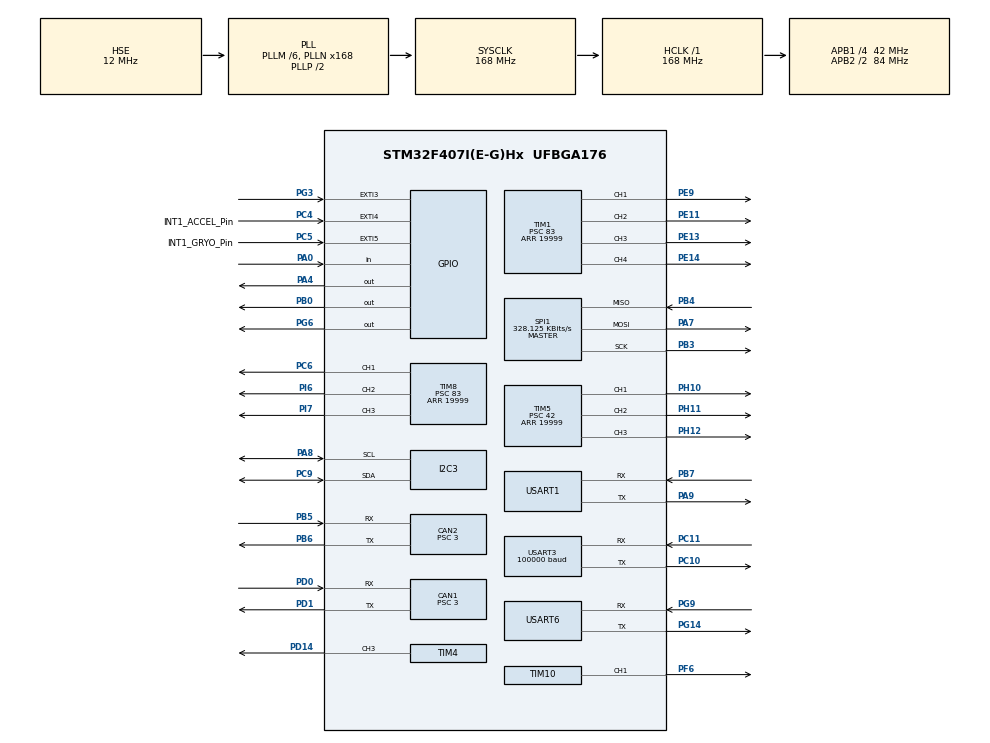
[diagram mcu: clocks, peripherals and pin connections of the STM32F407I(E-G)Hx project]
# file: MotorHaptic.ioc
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CAN1.BS1=CAN_BS1_10TQ
CAN1.BS2=CAN_BS2_3TQ
CAN1.CalculateBaudRate=1000000
CAN1.CalculateTimeBit=1000
CAN1.CalculateTimeQuantum=71.42857142857143
CAN1.Prescaler=3
CAN2.BS1=CAN_BS1_10TQ
CAN2.BS2=CAN_BS2_3TQ
CAN2.CalculateBaudRate=1000000
CAN2.CalculateTimeBit=1000
CAN2.CalculateTimeQuantum=71.42857142857143
CAN2.Prescaler=3
Dma.Request0=USART3_RX
Dma.Request1=USART1_TX
Dma.Request2=USART1_RX
Dma.Request3=USART6_RX
Dma.Request4=USART6_TX
Dma.USART1_RX.2.Direction=DMA_PERIPH_TO_MEMORY
Dma.USART1_RX.2.FIFOMode=DMA_FIFOMODE_DISABLE
Dma.USART1_RX.2.Instance=DMA2_Stream2
Dma.USART1_RX.2.MemDataAlignment=DMA_MDATAALIGN_BYTE
Dma.USART1_RX.2.MemInc=DMA_MINC_ENABLE
Dma.USART1_RX.2.Mode=DMA_NORMAL
Dma.USART1_RX.2.PeriphDataAlignment=DMA_PDATAALIGN_BYTE
Dma.USART1_RX.2.PeriphInc=DMA_PINC_DISABLE
Dma.USART1_RX.2.Priority=DMA_PRIORITY_VERY_HIGH
Dma.USART1_TX.1.Direction=DMA_MEMORY_TO_PERIPH
Dma.USART1_TX.1.FIFOMode=DMA_FIFOMODE_DISABLE
Dma.USART1_TX.1.Instance=DMA2_Stream7
Dma.USART1_TX.1.MemDataAlignment=DMA_MDATAALIGN_BYTE
Dma.USART1_TX.1.MemInc=DMA_MINC_ENABLE
Dma.USART1_TX.1.Mode=DMA_NORMAL
Dma.USART1_TX.1.PeriphDataAlignment=DMA_PDATAALIGN_BYTE
Dma.USART1_TX.1.PeriphInc=DMA_PINC_DISABLE
Dma.USART1_TX.1.Priority=DMA_PRIORITY_VERY_HIGH
Dma.USART3_RX.0.Direction=DMA_PERIPH_TO_MEMORY
Dma.USART3_RX.0.FIFOMode=DMA_FIFOMODE_DISABLE
Dma.USART3_RX.0.Instance=DMA1_Stream1
Dma.USART3_RX.0.MemDataAlignment=DMA_MDATAALIGN_BYTE
Dma.USART3_RX.0.MemInc=DMA_MINC_ENABLE
Dma.USART3_RX.0.Mode=DMA_CIRCULAR
Dma.USART3_RX.0.PeriphDataAlignment=DMA_PDATAALIGN_BYTE
Dma.USART3_RX.0.PeriphInc=DMA_PINC_DISABLE
Dma.USART3_RX.0.Priority=DMA_PRIORITY_VERY_HIGH
Dma.USART6_RX.3.Direction=DMA_PERIPH_TO_MEMORY
Dma.USART6_RX.3.FIFOMode=DMA_FIFOMODE_DISABLE
Dma.USART6_RX.3.Instance=DMA2_Stream1
Dma.USART6_RX.3.MemDataAlignment=DMA_MDATAALIGN_BYTE
Dma.USART6_RX.3.MemInc=DMA_MINC_ENABLE
Dma.USART6_RX.3.Mode=DMA_NORMAL
Dma.USART6_RX.3.PeriphDataAlignment=DMA_PDATAALIGN_BYTE
Dma.USART6_RX.3.PeriphInc=DMA_PINC_DISABLE
Dma.USART6_RX.3.Priority=DMA_PRIORITY_VERY_HIGH
Dma.USART6_TX.4.Direction=DMA_MEMORY_TO_PERIPH
Dma.USART6_TX.4.FIFOMode=DMA_FIFOMODE_DISABLE
Dma.USART6_TX.4.Instance=DMA2_Stream6
Dma.USART6_TX.4.MemDataAlignment=DMA_MDATAALIGN_BYTE
Dma.USART6_TX.4.MemInc=DMA_MINC_ENABLE
Dma.USART6_TX.4.Mode=DMA_NORMAL
Dma.USART6_TX.4.PeriphDataAlignment=DMA_PDATAALIGN_BYTE
Dma.USART6_TX.4.PeriphInc=DMA_PINC_DISABLE
Dma.USART6_TX.4.Priority=DMA_PRIORITY_VERY_HIGH
FREERTOS.INCLUDE_pcTaskGetTaskName=1
FREERTOS.INCLUDE_xTaskGetHandle=1
FREERTOS.Tasks01=defaultTask,32,1024,TaskMain,Default,NULL,Dynamic,NULL,NULL;chassisTask,40,1024,TaskChassis,Default,NULL,Dynamic,NULL,NULL;IMUtempPIDtask,24,512,imu_temp_control_task,As weak,NULL,Dynamic,NULL,NULL;turretTask,24,1024,TaskTurret,Default,NULL,Dynamic,NULL,NULL
FREERTOS.configUSE_NEWLIB_REENTRANT=1
I2C3.I2C_Mode=I2C_Fast
Mcu.Family=STM32F4
Mcu.Name=STM32F407I(E-G)Hx
Mcu.Package=UFBGA176
NVIC.CAN1_RX0_IRQn=true\:5\:0\:false\:false\:true\:true\:true\:true\:true
NVIC.CAN2_RX0_IRQn=true\:5\:0\:false\:false\:true\:true\:true\:true\:true
NVIC.DMA1_Stream1_IRQn=true\:5\:0\:false\:false\:true\:true\:false\:true\:true
NVIC.DMA2_Stream1_IRQn=true\:5\:0\:false\:false\:true\:true\:false\:true\:true
NVIC.DMA2_Stream2_IRQn=true\:5\:0\:false\:false\:true\:true\:false\:true\:true
NVIC.DMA2_Stream6_IRQn=true\:5\:0\:false\:false\:true\:true\:false\:true\:true
NVIC.DMA2_Stream7_IRQn=true\:5\:0\:false\:false\:true\:true\:false\:true\:true
NVIC.EXTI3_IRQn=true\:5\:0\:false\:false\:true\:true\:true\:true\:true
NVIC.EXTI4_IRQn=true\:5\:0\:false\:false\:true\:true\:true\:true\:true
NVIC.PriorityGroup=NVIC_PRIORITYGROUP_4
NVIC.USART1_IRQn=true\:5\:0\:false\:false\:true\:true\:true\:true\:true
NVIC.USART3_IRQn=true\:5\:0\:false\:false\:false\:true\:true\:true\:true
NVIC.USART6_IRQn=true\:5\:0\:false\:false\:true\:true\:true\:true\:true
PA0-WKUP.Signal=GPIO_Input
PA13.Mode=Serial_Wire
PA13.Signal=SYS_JTMS-SWDIO
PA14.Mode=Serial_Wire
PA14.Signal=SYS_JTCK-SWCLK
PA4.Signal=GPIO_Output
PA7.Mode=Full_Duplex_Master
PA7.Signal=SPI1_MOSI
PA8.Mode=I2C
PA8.Signal=I2C3_SCL
PA9.Mode=Asynchronous
PA9.Signal=USART1_TX
PB0.Signal=GPIO_Output
PB3.Mode=Full_Duplex_Master
PB3.Signal=SPI1_SCK
PB4.Mode=Full_Duplex_Master
PB4.Signal=SPI1_MISO
PB5.Mode=CAN_Activate
PB5.Signal=CAN2_RX
PB6.Mode=CAN_Activate
PB6.Signal=CAN2_TX
PB7.Mode=Asynchronous
PB7.Signal=USART1_RX
PC10.Mode=Asynchronous
PC10.Signal=USART3_TX
PC11.Mode=Asynchronous
PC11.Signal=USART3_RX
PC4.GPIO_Label=INT1_ACCEL_Pin
PC4.Signal=GPXTI4
PC5.GPIO_Label=INT1_GRYO_Pin
PC5.Signal=GPXTI5
PC6.Signal=S_TIM8_CH1
PC9.Mode=I2C
PC9.Signal=I2C3_SDA
PD0.Mode=CAN_Activate
PD0.Signal=CAN1_RX
PD1.Mode=CAN_Activate
PD1.Signal=CAN1_TX
PD14.Signal=S_TIM4_CH3
PE11.Signal=S_TIM1_CH2
PE13.Signal=S_TIM1_CH3
PE14.Signal=S_TIM1_CH4
PE9.Signal=S_TIM1_CH1
PF6.GPIO_PuPd=GPIO_PULLUP
PF6.GPIO_Speed=GPIO_SPEED_FREQ_HIGH
PF6.Signal=S_TIM10_CH1
PG14.Mode=Asynchronous
PG14.Signal=USART6_TX
PG3.Signal=GPXTI3
PG6.Signal=GPIO_Output
PG9.Mode=Asynchronous
PG9.Signal=USART6_RX
PH0-OSC_IN.Mode=HSE-External-Oscillator
PH0-OSC_IN.Signal=RCC_OSC_IN
PH1-OSC_OUT.Mode=HSE-External-Oscillator
PH1-OSC_OUT.Signal=RCC_OSC_OUT
PH10.Signal=S_TIM5_CH1
PH11.Signal=S_TIM5_CH2
PH12.Signal=S_TIM5_CH3
PI6.Signal=S_TIM8_CH2
PI7.Signal=S_TIM8_CH3
ProjectManager.HeapSize=0x200
ProjectManager.StackSize=0x400
ProjectManager.TargetToolchain=STM32CubeIDE
RCC.48MHZClocksFreq_Value=84000000
RCC.AHBFreq_Value=168000000
RCC.APB1CLKDivider=RCC_HCLK_DIV4
RCC.APB1Freq_Value=42000000
RCC.APB1TimFreq_Value=84000000
RCC.APB2CLKDivider=RCC_HCLK_DIV2
RCC.APB2Freq_Value=84000000
RCC.APB2TimFreq_Value=168000000
RCC.CortexFreq_Value=168000000
RCC.EnbaleCSS=true
RCC.HCLKFreq_Value=168000000
RCC.HSE_VALUE=12000000
RCC.HSI_VALUE=16000000
RCC.LSE_VALUE=32768
RCC.PLLM=6
RCC.PLLN=168
RCC.PLLSourceVirtual=RCC_PLLSOURCE_HSE
RCC.SYSCLKFreq_VALUE=168000000
RCC.SYSCLKSource=RCC_SYSCLKSOURCE_PLLCLK
RCC.VCOOutputFreq_Value=336000000
SH.S_TIM10_CH1.0=TIM10_CH1,PWM Generation1 CH1
SH.S_TIM1_CH1.0=TIM1_CH1,PWM Generation1 CH1
SH.S_TIM1_CH2.0=TIM1_CH2,PWM Generation2 CH2
SH.S_TIM1_CH3.0=TIM1_CH3,PWM Generation3 CH3
SH.S_TIM1_CH4.0=TIM1_CH4,PWM Generation4 CH4
SH.S_TIM4_CH3.0=TIM4_CH3,PWM Generation3 CH3
SH.S_TIM5_CH1.0=TIM5_CH1,PWM Generation1 CH1
SH.S_TIM5_CH2.0=TIM5_CH2,PWM Generation2 CH2
SH.S_TIM5_CH3.0=TIM5_CH3,PWM Generation3 CH3
SH.S_TIM8_CH1.0=TIM8_CH1,PWM Generation1 CH1
SH.S_TIM8_CH2.0=TIM8_CH2,PWM Generation2 CH2
SH.S_TIM8_CH3.0=TIM8_CH3,PWM Generation3 CH3
SPI1.BaudRatePrescaler=SPI_BAUDRATEPRESCALER_256
SPI1.CLKPhase=SPI_PHASE_2EDGE
SPI1.CLKPolarity=SPI_POLARITY_HIGH
SPI1.CalculateBaudRate=328.125 KBits/s
SPI1.Direction=SPI_DIRECTION_2LINES
SPI1.Mode=SPI_MODE_MASTER
SPI1.VirtualType=VM_MASTER
TIM1.AutoReloadPreload=TIM_AUTORELOAD_PRELOAD_DISABLE
TIM1.Channel-PWM\ Generation1\ CH1=TIM_CHANNEL_1
TIM1.Channel-PWM\ Generation2\ CH2=TIM_CHANNEL_2
TIM1.Channel-PWM\ Generation3\ CH3=TIM_CHANNEL_3
TIM1.Channel-PWM\ Generation4\ CH4=TIM_CHANNEL_4
TIM1.Period=19999
TIM1.Prescaler=83
TIM1.Pulse-PWM\ Generation1\ CH1=0
TIM10.Channel=TIM_CHANNEL_1
TIM10.Period=4999
TIM4.AutoReloadPreload=TIM_AUTORELOAD_PRELOAD_ENABLE
TIM4.Channel-PWM\ Generation3\ CH3=TIM_CHANNEL_3
TIM4.Period=20999
TIM4.Pulse-PWM\ Generation3\ CH3=10499
TIM5.Channel-PWM\ Generation1\ CH1=TIM_CHANNEL_1
TIM5.Channel-PWM\ Generation2\ CH2=TIM_CHANNEL_2
TIM5.Channel-PWM\ Generation3\ CH3=TIM_CHANNEL_3
TIM5.Period=19999
TIM5.Prescaler=42
TIM8.AutoReloadPreload=TIM_AUTORELOAD_PRELOAD_ENABLE
TIM8.Channel-PWM\ Generation1\ CH1=TIM_CHANNEL_1
TIM8.Channel-PWM\ Generation2\ CH2=TIM_CHANNEL_2
TIM8.Channel-PWM\ Generation3\ CH3=TIM_CHANNEL_3
TIM8.Period=19999
TIM8.Prescaler=83
USART1.VirtualMode=VM_ASYNC
USART3.BaudRate=100000
USART3.Parity=PARITY_EVEN
USART3.VirtualMode=VM_ASYNC
USART6.VirtualMode=VM_ASYNC
VP_FREERTOS_VS_CMSIS_V2.Mode=CMSIS_V2
VP_TIM10_VS_ClockSourceINT.Mode=Enable_Timer
VP_TIM4_VS_ClockSourceINT.Mode=Internal
board=custom

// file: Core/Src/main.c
/* USER CODE BEGIN Header */
/**
  ******************************************************************************
  * @file           : main.c
  * @brief          : Main program body
  ******************************************************************************
  * @attention
  *
  * Copyright (c) 2024 STMicroelectronics.
  * All rights reserved.
  *
  * This software is licensed under terms that can be found in the LICENSE file
  * in the root directory of this software component.
  * If no LICENSE file comes with this software, it is provided AS-IS.
  *
  ******************************************************************************
  */
/* USER CODE END Header */
#include "main.h"
#include "cmsis_os.h"

/* USER CODE BEGIN Includes */
//#include "CAN_receive.h"
#include "CAN.h"
#include "bsp_can.h"
#include "remote_control.h"
#include "bsp_rc.h"
#include "UART.h"
#include "stdio.h"
#include "stdarg.h"
#include "string.h"
#include "BMI088driver.h"
#include "pid.h"
#include "bsp_imu_pwm.h"
#include "ist8310driver.h"
#include "pwm.h"
#include "songs.h"
#include "buffer.h"
#include "math.h"
#include "driving.h"
#include "I2C.h"
/* USER CODE END Includes */

CAN_HandleTypeDef hcan1;
CAN_HandleTypeDef hcan2;

I2C_HandleTypeDef hi2c3;

SPI_HandleTypeDef hspi1;

TIM_HandleTypeDef htim1;
TIM_HandleTypeDef htim4;
TIM_HandleTypeDef htim5;
TIM_HandleTypeDef htim8;
TIM_HandleTypeDef htim10;

UART_HandleTypeDef huart1;
UART_HandleTypeDef huart3;
UART_HandleTypeDef huart6;
DMA_HandleTypeDef hdma_usart1_tx;
DMA_HandleTypeDef hdma_usart1_rx;
DMA_HandleTypeDef hdma_usart3_rx;
DMA_HandleTypeDef hdma_usart6_rx;
DMA_HandleTypeDef hdma_usart6_tx;

/* Definitions for defaultTask */
osThreadId_t defaultTaskHandle;
const osThreadAttr_t defaultTask_attributes = {
  .name = "defaultTask",
  .stack_size = 1024 * 4,
  .priority = (osPriority_t) osPriorityAboveNormal,
};
/* Definitions for chassisTask */
osThreadId_t chassisTaskHandle;
const osThreadAttr_t chassisTask_attributes = {
  .name = "chassisTask",
  .stack_size = 1024 * 4,
  .priority = (osPriority_t) osPriorityHigh,
};
/* Definitions for IMUtempPIDtask */
osThreadId_t IMUtempPIDtaskHandle;
const osThreadAttr_t IMUtempPIDtask_attributes = {
  .name = "IMUtempPIDtask",
  .stack_size = 512 * 4,
  .priority = (osPriority_t) osPriorityNormal,
};
/* Definitions for turretTask */
osThreadId_t turretTaskHandle;
const osThreadAttr_t turretTask_attributes = {
  .name = "turretTask",
  .stack_size = 1024 * 4,
  .priority = (osPriority_t) osPriorityNormal,
};
/* USER CODE BEGIN PV */
const RC_ctrl_t *local_rc_ctrl;
//3.6 0.015, 4.2
PID_preset_t chassisPreset = {3.6, 0, 0};  //0.8f, 0.025f, 0.95f   {1.6, 0.045, 0.10}; 32 0.4
PID_preset_t yawPresetCurrentRPM = {46, 10.0, 16.4};

PID_preset_t yawPresetVoltageRPM = {25.0, 0.0, 0.0};

PID_preset_t yawPresetCurrentPosition = {12, 1, 0.0};
PID_preset_t yawPresetVoltagePosition = {36, 0.3, 0.0};

int16_t joystickTunner = 0;

// 50, 0, 110
PID_preset_t pitchPresetVoltagePosition = {70.0, 0.0, 421.0};
PID_preset_t indexerPreset = {1.1f, 0.02f, -2.4f};
PID_preset_t shooterPreset = {1.20f, 0.12f, 1.60f};
PID_preset_t powerPreset = {0, 0.000000000001, 0};
PID_preset_t flywheel = {12, 0, 0};
PID_preset_t customPreset = {0, 0, 0};

int target = 2000;
float JoulesBuffer = 60;
float maxPower = 0;
uint32_t PowerLimitor = 400;

float mouseXScaler = 0.85;
float mouseYScaler = 0.17;

extern game_status_t game_status;
extern power_heat_data_t power_heat_data;
extern robot_status_t robot_status;
extern pc_control_t pc_control;

float calcChassisPower = 0;

/* USER CODE END PV */

void SystemClock_Config(void);
static void MX_GPIO_Init(void);
static void MX_DMA_Init(void);
static void MX_CAN1_Init(void);
static void MX_CAN2_Init(void);
static void MX_SPI1_Init(void);
static void MX_TIM4_Init(void);
static void MX_USART1_UART_Init(void);
static void MX_USART6_UART_Init(void);
static void MX_TIM1_Init(void);
static void MX_TIM8_Init(void);
static void MX_USART3_UART_Init(void);
static void MX_TIM10_Init(void);
static void MX_I2C3_Init(void);
static void MX_TIM5_Init(void);
void TaskMain(void *argument);
void TaskChassis(void *argument);
void imu_temp_control_task(void *argument);
void TaskTurret(void *argument);

int main(void)
{

  /* MCU Configuration--------------------------------------------------------*/

  /* Reset of all peripherals, Initializes the Flash interface and the Systick. */
  HAL_Init();

  /* Configure the system clock */
  SystemClock_Config();

  /* Initialize all configured peripherals */
  MX_GPIO_Init();
  MX_DMA_Init();
  MX_CAN1_Init();
  MX_CAN2_Init();
  MX_SPI1_Init();
  MX_TIM4_Init();
  MX_USART1_UART_Init();
  MX_USART6_UART_Init();
  MX_TIM1_Init();
  MX_TIM8_Init();
  MX_USART3_UART_Init();
  MX_TIM10_Init();
  MX_I2C3_Init();
  MX_TIM5_Init();
  /* USER CODE BEGIN 2 */
  can_filter_init();
  remote_control_init();
  usart_Init();
  local_rc_ctrl = get_remote_control_point();
  //__HAL_UART_ENABLE_IT(&huart1,UART_IT_IDLE);
  /* USER CODE END 2 */

  /* Init scheduler */
  osKernelInitialize();

  /* Create the thread(s) */
  /* creation of defaultTask */
  defaultTaskHandle = osThreadNew(TaskMain, NULL, &defaultTask_attributes);

  /* creation of chassisTask */
  chassisTaskHandle = osThreadNew(TaskChassis, NULL, &chassisTask_attributes);

  /* creation of IMUtempPIDtask */
  IMUtempPIDtaskHandle = osThreadNew(imu_temp_control_task, NULL, &IMUtempPIDtask_attributes);

  /* creation of turretTask */
  turretTaskHandle = osThreadNew(TaskTurret, NULL, &turretTask_attributes);

  /* Start scheduler */
  osKernelStart();
  /* We should never get here as control is now taken by the scheduler */
  /* Infinite loop */
  while (1)
  {

  }
}

void SystemClock_Config(void)
{
  RCC_OscInitTypeDef RCC_OscInitStruct = {0};
  RCC_ClkInitTypeDef RCC_ClkInitStruct = {0};

  /** Configure the main internal regulator output voltage
  */
  __HAL_RCC_PWR_CLK_ENABLE();
  __HAL_PWR_VOLTAGESCALING_CONFIG(PWR_REGULATOR_VOLTAGE_SCALE1);

  /** Initializes the RCC Oscillators according to the specified parameters
  * in the RCC_OscInitTypeDef structure.
  */
  RCC_OscInitStruct.OscillatorType = RCC_OSCILLATORTYPE_HSE;
  RCC_OscInitStruct.HSEState = RCC_HSE_ON;
  RCC_OscInitStruct.PLL.PLLState = RCC_PLL_ON;
  RCC_OscInitStruct.PLL.PLLSource = RCC_PLLSOURCE_HSE;
  RCC_OscInitStruct.PLL.PLLM = 6;
  RCC_OscInitStruct.PLL.PLLN = 168;
  RCC_OscInitStruct.PLL.PLLP = RCC_PLLP_DIV2;
  RCC_OscInitStruct.PLL.PLLQ = 4;
  if (HAL_RCC_OscConfig(&RCC_OscInitStruct) != HAL_OK)
  {
    Error_Handler();
  }

  /** Initializes the CPU, AHB and APB buses clocks
  */
  RCC_ClkInitStruct.ClockType = RCC_CLOCKTYPE_HCLK|RCC_CLOCKTYPE_SYSCLK
                              |RCC_CLOCKTYPE_PCLK1|RCC_CLOCKTYPE_PCLK2;
  RCC_ClkInitStruct.SYSCLKSource = RCC_SYSCLKSOURCE_PLLCLK;
  RCC_ClkInitStruct.AHBCLKDivider = RCC_SYSCLK_DIV1;
  RCC_ClkInitStruct.APB1CLKDivider = RCC_HCLK_DIV4;
  RCC_ClkInitStruct.APB2CLKDivider = RCC_HCLK_DIV2;

  if (HAL_RCC_ClockConfig(&RCC_ClkInitStruct, FLASH_LATENCY_5) != HAL_OK)
  {
    Error_Handler();
  }

  /** Enables the Clock Security System
  */
  HAL_RCC_EnableCSS();
}

static void MX_CAN1_Init(void)
{

  hcan1.Instance = CAN1;
  hcan1.Init.Prescaler = 3;
  hcan1.Init.Mode = CAN_MODE_NORMAL;
  hcan1.Init.SyncJumpWidth = CAN_SJW_1TQ;
  hcan1.Init.TimeSeg1 = CAN_BS1_10TQ;
  hcan1.Init.TimeSeg2 = CAN_BS2_3TQ;
  hcan1.Init.TimeTriggeredMode = DISABLE;
  hcan1.Init.AutoBusOff = DISABLE;
  hcan1.Init.AutoWakeUp = DISABLE;
  hcan1.Init.AutoRetransmission = DISABLE;
  hcan1.Init.ReceiveFifoLocked = DISABLE;
  hcan1.Init.TransmitFifoPriority = DISABLE;
  if (HAL_CAN_Init(&hcan1) != HAL_OK)
  {
    Error_Handler();
  }

}

static void MX_CAN2_Init(void)
{

  hcan2.Instance = CAN2;
  hcan2.Init.Prescaler = 3;
  hcan2.Init.Mode = CAN_MODE_NORMAL;
  hcan2.Init.SyncJumpWidth = CAN_SJW_1TQ;
  hcan2.Init.TimeSeg1 = CAN_BS1_10TQ;
  hcan2.Init.TimeSeg2 = CAN_BS2_3TQ;
  hcan2.Init.TimeTriggeredMode = DISABLE;
  hcan2.Init.AutoBusOff = DISABLE;
  hcan2.Init.AutoWakeUp = DISABLE;
  hcan2.Init.AutoRetransmission = DISABLE;
  hcan2.Init.ReceiveFifoLocked = DISABLE;
  hcan2.Init.TransmitFifoPriority = DISABLE;
  if (HAL_CAN_Init(&hcan2) != HAL_OK)
  {
    Error_Handler();
  }

}

static void MX_I2C3_Init(void)
{

  hi2c3.Instance = I2C3;
  hi2c3.Init.ClockSpeed = 400000;
  hi2c3.Init.DutyCycle = I2C_DUTYCYCLE_2;
  hi2c3.Init.OwnAddress1 = 0;
  hi2c3.Init.AddressingMode = I2C_ADDRESSINGMODE_7BIT;
  hi2c3.Init.DualAddressMode = I2C_DUALADDRESS_DISABLE;
  hi2c3.Init.OwnAddress2 = 0;
  hi2c3.Init.GeneralCallMode = I2C_GENERALCALL_DISABLE;
  hi2c3.Init.NoStretchMode = I2C_NOSTRETCH_DISABLE;
  if (HAL_I2C_Init(&hi2c3) != HAL_OK)
  {
    Error_Handler();
  }

}

static void MX_SPI1_Init(void)
{

  /* SPI1 parameter configuration*/
  hspi1.Instance = SPI1;
  hspi1.Init.Mode = SPI_MODE_MASTER;
  hspi1.Init.Direction = SPI_DIRECTION_2LINES;
  hspi1.Init.DataSize = SPI_DATASIZE_8BIT;
  hspi1.Init.CLKPolarity = SPI_POLARITY_HIGH;
  hspi1.Init.CLKPhase = SPI_PHASE_2EDGE;
  hspi1.Init.NSS = SPI_NSS_SOFT;
  hspi1.Init.BaudRatePrescaler = SPI_BAUDRATEPRESCALER_256;
  hspi1.Init.FirstBit = SPI_FIRSTBIT_MSB;
  hspi1.Init.TIMode = SPI_TIMODE_DISABLE;
  hspi1.Init.CRCCalculation = SPI_CRCCALCULATION_DISABLE;
  hspi1.Init.CRCPolynomial = 10;
  if (HAL_SPI_Init(&hspi1) != HAL_OK)
  {
    Error_Handler();
  }

}

static void MX_TIM1_Init(void)
{

  TIM_MasterConfigTypeDef sMasterConfig = {0};
  TIM_OC_InitTypeDef sConfigOC = {0};
  TIM_BreakDeadTimeConfigTypeDef sBreakDeadTimeConfig = {0};

  htim1.Instance = TIM1;
  htim1.Init.Prescaler = 83;
  htim1.Init.CounterMode = TIM_COUNTERMODE_UP;
  htim1.Init.Period = 19999;
  htim1.Init.ClockDivision = TIM_CLOCKDIVISION_DIV1;
  htim1.Init.RepetitionCounter = 0;
  htim1.Init.AutoReloadPreload = TIM_AUTORELOAD_PRELOAD_DISABLE;
  if (HAL_TIM_PWM_Init(&htim1) != HAL_OK)
  {
    Error_Handler();
  }
  sMasterConfig.MasterOutputTrigger = TIM_TRGO_RESET;
  sMasterConfig.MasterSlaveMode = TIM_MASTERSLAVEMODE_DISABLE;
  if (HAL_TIMEx_MasterConfigSynchronization(&htim1, &sMasterConfig) != HAL_OK)
  {
    Error_Handler();
  }
  sConfigOC.OCMode = TIM_OCMODE_PWM1;
  sConfigOC.Pulse = 0;
  sConfigOC.OCPolarity = TIM_OCPOLARITY_HIGH;
  sConfigOC.OCNPolarity = TIM_OCNPOLARITY_HIGH;
  sConfigOC.OCFastMode = TIM_OCFAST_DISABLE;
  sConfigOC.OCIdleState = TIM_OCIDLESTATE_RESET;
  sConfigOC.OCNIdleState = TIM_OCNIDLESTATE_RESET;
  if (HAL_TIM_PWM_ConfigChannel(&htim1, &sConfigOC, TIM_CHANNEL_1) != HAL_OK)
  {
    Error_Handler();
  }
  if (HAL_TIM_PWM_ConfigChannel(&htim1, &sConfigOC, TIM_CHANNEL_2) != HAL_OK)
  {
    Error_Handler();
  }
  if (HAL_TIM_PWM_ConfigChannel(&htim1, &sConfigOC, TIM_CHANNEL_3) != HAL_OK)
  {
    Error_Handler();
  }
  if (HAL_TIM_PWM_ConfigChannel(&htim1, &sConfigOC, TIM_CHANNEL_4) != HAL_OK)
  {
    Error_Handler();
  }
  sBreakDeadTimeConfig.OffStateRunMode = TIM_OSSR_DISABLE;
  sBreakDeadTimeConfig.OffStateIDLEMode = TIM_OSSI_DISABLE;
  sBreakDeadTimeConfig.LockLevel = TIM_LOCKLEVEL_OFF;
  sBreakDeadTimeConfig.DeadTime = 0;
  sBreakDeadTimeConfig.BreakState = TIM_BREAK_DISABLE;
  sBreakDeadTimeConfig.BreakPolarity = TIM_BREAKPOLARITY_HIGH;
  sBreakDeadTimeConfig.AutomaticOutput = TIM_AUTOMATICOUTPUT_DISABLE;
  if (HAL_TIMEx_ConfigBreakDeadTime(&htim1, &sBreakDeadTimeConfig) != HAL_OK)
  {
    Error_Handler();
  }
  HAL_TIM_MspPostInit(&htim1);

}

static void MX_TIM4_Init(void)
{

  TIM_ClockConfigTypeDef sClockSourceConfig = {0};
  TIM_MasterConfigTypeDef sMasterConfig = {0};
  TIM_OC_InitTypeDef sConfigOC = {0};

  htim4.Instance = TIM4;
  htim4.Init.Prescaler = 0;
  htim4.Init.CounterMode = TIM_COUNTERMODE_UP;
  htim4.Init.Period = 20999;
  htim4.Init.ClockDivision = TIM_CLOCKDIVISION_DIV1;
  htim4.Init.AutoReloadPreload = TIM_AUTORELOAD_PRELOAD_ENABLE;
  if (HAL_TIM_Base_Init(&htim4) != HAL_OK)
  {
    Error_Handler();
  }
  sClockSourceConfig.ClockSource = TIM_CLOCKSOURCE_INTERNAL;
  if (HAL_TIM_ConfigClockSource(&htim4, &sClockSourceConfig) != HAL_OK)
  {
    Error_Handler();
  }
  if (HAL_TIM_PWM_Init(&htim4) != HAL_OK)
  {
    Error_Handler();
  }
  sMasterConfig.MasterOutputTrigger = TIM_TRGO_RESET;
  sMasterConfig.MasterSlaveMode = TIM_MASTERSLAVEMODE_DISABLE;
  if (HAL_TIMEx_MasterConfigSynchronization(&htim4, &sMasterConfig) != HAL_OK)
  {
    Error_Handler();
  }
  sConfigOC.OCMode = TIM_OCMODE_PWM1;
  sConfigOC.Pulse = 10499;
  sConfigOC.OCPolarity = TIM_OCPOLARITY_HIGH;
  sConfigOC.OCFastMode = TIM_OCFAST_DISABLE;
  if (HAL_TIM_PWM_ConfigChannel(&htim4, &sConfigOC, TIM_CHANNEL_3) != HAL_OK)
  {
    Error_Handler();
  }
  HAL_TIM_MspPostInit(&htim4);

}

static void MX_TIM5_Init(void)
{

  TIM_MasterConfigTypeDef sMasterConfig = {0};
  TIM_OC_InitTypeDef sConfigOC = {0};

  htim5.Instance = TIM5;
  htim5.Init.Prescaler = 42;
  htim5.Init.CounterMode = TIM_COUNTERMODE_UP;
  htim5.Init.Period = 19999;
  htim5.Init.ClockDivision = TIM_CLOCKDIVISION_DIV1;
  htim5.Init.AutoReloadPreload = TIM_AUTORELOAD_PRELOAD_DISABLE;
  if (HAL_TIM_PWM_Init(&htim5) != HAL_OK)
  {
    Error_Handler();
  }
  sMasterConfig.MasterOutputTrigger = TIM_TRGO_RESET;
  sMasterConfig.MasterSlaveMode = TIM_MASTERSLAVEMODE_DISABLE;
  if (HAL_TIMEx_MasterConfigSynchronization(&htim5, &sMasterConfig) != HAL_OK)
  {
    Error_Handler();
  }
  sConfigOC.OCMode = TIM_OCMODE_PWM1;
  sConfigOC.Pulse = 0;
  sConfigOC.OCPolarity = TIM_OCPOLARITY_HIGH;
  sConfigOC.OCFastMode = TIM_OCFAST_DISABLE;
  if (HAL_TIM_PWM_ConfigChannel(&htim5, &sConfigOC, TIM_CHANNEL_1) != HAL_OK)
  {
    Error_Handler();
  }
  if (HAL_TIM_PWM_ConfigChannel(&htim5, &sConfigOC, TIM_CHANNEL_2) != HAL_OK)
  {
    Error_Handler();
  }
  if (HAL_TIM_PWM_ConfigChannel(&htim5, &sConfigOC, TIM_CHANNEL_3) != HAL_OK)
  {
    Error_Handler();
  }
  HAL_TIM_MspPostInit(&htim5);

}

static void MX_TIM8_Init(void)
{

  TIM_MasterConfigTypeDef sMasterConfig = {0};
  TIM_OC_InitTypeDef sConfigOC = {0};
  TIM_BreakDeadTimeConfigTypeDef sBreakDeadTimeConfig = {0};

  htim8.Instance = TIM8;
  htim8.Init.Prescaler = 83;
  htim8.Init.CounterMode = TIM_COUNTERMODE_UP;
  htim8.Init.Period = 19999;
  htim8.Init.ClockDivision = TIM_CLOCKDIVISION_DIV1;
  htim8.Init.RepetitionCounter = 0;
  htim8.Init.AutoReloadPreload = TIM_AUTORELOAD_PRELOAD_ENABLE;
  if (HAL_TIM_PWM_Init(&htim8) != HAL_OK)
  {
    Error_Handler();
  }
  sMasterConfig.MasterOutputTrigger = TIM_TRGO_RESET;
  sMasterConfig.MasterSlaveMode = TIM_MASTERSLAVEMODE_DISABLE;
  if (HAL_TIMEx_MasterConfigSynchronization(&htim8, &sMasterConfig) != HAL_OK)
  {
    Error_Handler();
  }
  sConfigOC.OCMode = TIM_OCMODE_PWM1;
  sConfigOC.Pulse = 0;
  sConfigOC.OCPolarity = TIM_OCPOLARITY_HIGH;
  sConfigOC.OCNPolarity = TIM_OCNPOLARITY_HIGH;
  sConfigOC.OCFastMode = TIM_OCFAST_DISABLE;
  sConfigOC.OCIdleState = TIM_OCIDLESTATE_RESET;
  sConfigOC.OCNIdleState = TIM_OCNIDLESTATE_RESET;
  if (HAL_TIM_PWM_ConfigChannel(&htim8, &sConfigOC, TIM_CHANNEL_1) != HAL_OK)
  {
    Error_Handler();
  }
  if (HAL_TIM_PWM_ConfigChannel(&htim8, &sConfigOC, TIM_CHANNEL_2) != HAL_OK)
  {
    Error_Handler();
  }
  if (HAL_TIM_PWM_ConfigChannel(&htim8, &sConfigOC, TIM_CHANNEL_3) != HAL_OK)
  {
    Error_Handler();
  }
  sBreakDeadTimeConfig.OffStateRunMode = TIM_OSSR_DISABLE;
  sBreakDeadTimeConfig.OffStateIDLEMode = TIM_OSSI_DISABLE;
  sBreakDeadTimeConfig.LockLevel = TIM_LOCKLEVEL_OFF;
  sBreakDeadTimeConfig.DeadTime = 0;
  sBreakDeadTimeConfig.BreakState = TIM_BREAK_DISABLE;
  sBreakDeadTimeConfig.BreakPolarity = TIM_BREAKPOLARITY_HIGH;
  sBreakDeadTimeConfig.AutomaticOutput = TIM_AUTOMATICOUTPUT_DISABLE;
  if (HAL_TIMEx_ConfigBreakDeadTime(&htim8, &sBreakDeadTimeConfig) != HAL_OK)
  {
    Error_Handler();
  }
  HAL_TIM_MspPostInit(&htim8);

}

static void MX_TIM10_Init(void)
{

  TIM_OC_InitTypeDef sConfigOC = {0};

  htim10.Instance = TIM10;
  htim10.Init.Prescaler = 0;
  htim10.Init.CounterMode = TIM_COUNTERMODE_UP;
  htim10.Init.Period = 4999;
  htim10.Init.ClockDivision = TIM_CLOCKDIVISION_DIV1;
  htim10.Init.AutoReloadPreload = TIM_AUTORELOAD_PRELOAD_DISABLE;
  if (HAL_TIM_Base_Init(&htim10) != HAL_OK)
  {
    Error_Handler();
  }
  if (HAL_TIM_PWM_Init(&htim10) != HAL_OK)
  {
    Error_Handler();
  }
  sConfigOC.OCMode = TIM_OCMODE_PWM1;
  sConfigOC.Pulse = 0;
  sConfigOC.OCPolarity = TIM_OCPOLARITY_HIGH;
  sConfigOC.OCFastMode = TIM_OCFAST_DISABLE;
  if (HAL_TIM_PWM_ConfigChannel(&htim10, &sConfigOC, TIM_CHANNEL_1) != HAL_OK)
  {
    Error_Handler();
  }
  HAL_TIM_MspPostInit(&htim10);

}

static void MX_USART1_UART_Init(void)
{

  huart1.Instance = USART1;
  huart1.Init.BaudRate = 115200;
  huart1.Init.WordLength = UART_WORDLENGTH_8B;
  huart1.Init.StopBits = UART_STOPBITS_1;
  huart1.Init.Parity = UART_PARITY_NONE;
  huart1.Init.Mode = UART_MODE_TX_RX;
  huart1.Init.HwFlowCtl = UART_HWCONTROL_NONE;
  huart1.Init.OverSampling = UART_OVERSAMPLING_16;
  if (HAL_UART_Init(&huart1) != HAL_OK)
  {
    Error_Handler();
  }

}

static void MX_USART3_UART_Init(void)
{

  huart3.Instance = USART3;
  huart3.Init.BaudRate = 100000;
  huart3.Init.WordLength = UART_WORDLENGTH_8B;
  huart3.Init.StopBits = UART_STOPBITS_1;
  huart3.Init.Parity = UART_PARITY_EVEN;
  huart3.Init.Mode = UART_MODE_TX_RX;
  huart3.Init.HwFlowCtl = UART_HWCONTROL_NONE;
  huart3.Init.OverSampling = UART_OVERSAMPLING_16;
  if (HAL_UART_Init(&huart3) != HAL_OK)
  {
    Error_Handler();
  }

}

static void MX_USART6_UART_Init(void)
{

  huart6.Instance = USART6;
  huart6.Init.BaudRate = 115200;
  huart6.Init.WordLength = UART_WORDLENGTH_8B;
  huart6.Init.StopBits = UART_STOPBITS_1;
  huart6.Init.Parity = UART_PARITY_NONE;
  huart6.Init.Mode = UART_MODE_TX_RX;
  huart6.Init.HwFlowCtl = UART_HWCONTROL_NONE;
  huart6.Init.OverSampling = UART_OVERSAMPLING_16;
  if (HAL_UART_Init(&huart6) != HAL_OK)
  {
    Error_Handler();
  }

}

static void MX_DMA_Init(void)
{

  /* DMA controller clock enable */
  __HAL_RCC_DMA1_CLK_ENABLE();
  __HAL_RCC_DMA2_CLK_ENABLE();

  /* DMA interrupt init */
  /* DMA1_Stream1_IRQn interrupt configuration */
  HAL_NVIC_SetPriority(DMA1_Stream1_IRQn, 5, 0);
  HAL_NVIC_EnableIRQ(DMA1_Stream1_IRQn);
  /* DMA2_Stream1_IRQn interrupt configuration */
  HAL_NVIC_SetPriority(DMA2_Stream1_IRQn, 5, 0);
  HAL_NVIC_EnableIRQ(DMA2_Stream1_IRQn);
  /* DMA2_Stream2_IRQn interrupt configuration */
  HAL_NVIC_SetPriority(DMA2_Stream2_IRQn, 5, 0);
  HAL_NVIC_EnableIRQ(DMA2_Stream2_IRQn);
  /* DMA2_Stream6_IRQn interrupt configuration */
  HAL_NVIC_SetPriority(DMA2_Stream6_IRQn, 5, 0);
  HAL_NVIC_EnableIRQ(DMA2_Stream6_IRQn);
  /* DMA2_Stream7_IRQn interrupt configuration */
  HAL_NVIC_SetPriority(DMA2_Stream7_IRQn, 5, 0);
  HAL_NVIC_EnableIRQ(DMA2_Stream7_IRQn);

}

static void MX_GPIO_Init(void)
{
  GPIO_InitTypeDef GPIO_InitStruct = {0};

  /* GPIO Ports Clock Enable */
  __HAL_RCC_GPIOB_CLK_ENABLE();
  __HAL_RCC_GPIOG_CLK_ENABLE();
  __HAL_RCC_GPIOA_CLK_ENABLE();
  __HAL_RCC_GPIOD_CLK_ENABLE();
  __HAL_RCC_GPIOC_CLK_ENABLE();
  __HAL_RCC_GPIOI_CLK_ENABLE();
  __HAL_RCC_GPIOH_CLK_ENABLE();
  __HAL_RCC_GPIOF_CLK_ENABLE();
  __HAL_RCC_GPIOE_CLK_ENABLE();

  /*Configure GPIO pin Output Level */
  HAL_GPIO_WritePin(GPIOG, GPIO_PIN_6, GPIO_PIN_RESET);

  /*Configure GPIO pin Output Level */
  HAL_GPIO_WritePin(GPIOA, GPIO_PIN_4, GPIO_PIN_RESET);

  /*Configure GPIO pin Output Level */
  HAL_GPIO_WritePin(GPIOB, GPIO_PIN_0, GPIO_PIN_RESET);

  /*Configure GPIO pin : PG6 */
  GPIO_InitStruct.Pin = GPIO_PIN_6;
  GPIO_InitStruct.Mode = GPIO_MODE_OUTPUT_PP;
  GPIO_InitStruct.Pull = GPIO_NOPULL;
  GPIO_InitStruct.Speed = GPIO_SPEED_FREQ_LOW;
  HAL_GPIO_Init(GPIOG, &GPIO_InitStruct);

  /*Configure GPIO pin : PG3 */
  GPIO_InitStruct.Pin = GPIO_PIN_3;
  GPIO_InitStruct.Mode = GPIO_MODE_IT_RISING;
  GPIO_InitStruct.Pull = GPIO_NOPULL;
  HAL_GPIO_Init(GPIOG, &GPIO_InitStruct);

  /*Configure GPIO pin : PA0 */
  GPIO_InitStruct.Pin = GPIO_PIN_0;
  GPIO_InitStruct.Mode = GPIO_MODE_INPUT;
  GPIO_InitStruct.Pull = GPIO_NOPULL;
  HAL_GPIO_Init(GPIOA, &GPIO_InitStruct);

  /*Configure GPIO pin : PA4 */
  GPIO_InitStruct.Pin = GPIO_PIN_4;
  GPIO_InitStruct.Mode = GPIO_MODE_OUTPUT_PP;
  GPIO_InitStruct.Pull = GPIO_NOPULL;
  GPIO_InitStruct.Speed = GPIO_SPEED_FREQ_LOW;
  HAL_GPIO_Init(GPIOA, &GPIO_InitStruct);

  /*Configure GPIO pins : INT1_ACCEL_Pin_Pin INT1_GRYO_Pin_Pin */
  GPIO_InitStruct.Pin = INT1_ACCEL_Pin_Pin|INT1_GRYO_Pin_Pin;
  GPIO_InitStruct.Mode = GPIO_MODE_IT_RISING;
  GPIO_InitStruct.Pull = GPIO_NOPULL;
  HAL_GPIO_Init(GPIOC, &GPIO_InitStruct);

  /*Configure GPIO pin : PB0 */
  GPIO_InitStruct.Pin = GPIO_PIN_0;
  GPIO_InitStruct.Mode = GPIO_MODE_OUTPUT_PP;
  GPIO_InitStruct.Pull = GPIO_NOPULL;
  GPIO_InitStruct.Speed = GPIO_SPEED_FREQ_LOW;
  HAL_GPIO_Init(GPIOB, &GPIO_InitStruct);

  /* EXTI interrupt init*/
  HAL_NVIC_SetPriority(EXTI3_IRQn, 5, 0);
  HAL_NVIC_EnableIRQ(EXTI3_IRQn);

  HAL_NVIC_SetPriority(EXTI4_IRQn, 5, 0);
  HAL_NVIC_EnableIRQ(EXTI4_IRQn);

}

void TaskMain(void *argument)
{
  /* USER CODE BEGIN 5 */

	for(;;) {
		osDelay(5);

	}
  /* USER CODE END 5 */
}

void TaskChassis(void *argument)
{
  /* USER CODE BEGIN TaskChassis */
	PWMInit(&htim1, &htim4, &htim5, &htim8);

	PID_preset_t YPVoltageRPM = {10.0, 0.0, 0.0};
	PID_preset_t CMT = {10, 0.0, 0.0};

    int16_t clickScaler = 1;
    int16_t returnScaler = 2;
    int16_t rpmOutput = 0;
    int16_t maxAmp = 1*819.2; // 819.2 is the scaler for 1 amp

  /* Infinite loop */
    for(;;) {
    	/*
    	setMotorRPM(Bus1, M2006, 5, 7000, YPVoltageRPM);
    	*/
    	// usart_printf("Beans %d\r\n", getMotorRPM(Bus1, M2006, 5));

    	uint16_t currentPos = getRotorPosition(Bus1, M2006, 5);
    	int16_t incrementLow = (currentPos-1000)/614;
    	int16_t incrementHigh = incrementLow+1;
    	// usart_printf("LI: %d, HI: %d\r\n", incrementLow, incrementHigh);

    	int16_t maxAmp = 1*819.2; // 819.2 is the scaler for 1 amp
    	int8_t incrementer = 1;
    	int16_t turnVal = 0;
    	int16_t stallCounter = 0;
    	rpmOutput = currentPos- 1000;

    	float scalerValThing = 0.05;

    	// The first 2 if statements are temporary just to test before the housing is made
    	if (currentPos < 1000) {
    		setMotorRPM(Bus1, M2006, 5, returnScaler * (1000-currentPos), YPVoltageRPM);
    		rpmOutput = 0;
    		turnVal = returnScaler * (1000-currentPos);
    	} else if (currentPos > 7140) {
    		setMotorRPM(Bus1, M2006, 5, returnScaler * (7140-currentPos), YPVoltageRPM);
    		turnVal = returnScaler * (7140-currentPos);
    	} else {
    		turnVal = 0;
    		if (incrementer == 1) {
    			int16_t lowDelta = currentPos-(incrementLow*614)-1000;
    			int16_t highDelta = (incrementHigh*614) - currentPos+1000;
    			usart_printf("LI: %d, HI: %d\r\n", lowDelta, highDelta);
    			if (lowDelta < highDelta) {
    				int32_t rpmCalc = (int32_t)(scalerValThing*(float)(lowDelta));
    				if (rpmCalc > maxAmp) {
    					rpmCalc = maxAmp;
    				} else if (rpmCalc < -1* maxAmp) {
    					rpmCalc = -1*maxAmp;
    				}
    				// usart_printf("Larger: CurrentPos: %d | IncrementVal: %d | ReturnScalerVal: %d\r\n", currentPos, rpmCalc, turnVal);
    				// CAN_setMotorCtrlVal(Bus1, M3508, 5, rpmCalc);
    				setMotorRPM(Bus1, M2006, 5, rpmCalc, YPVoltageRPM);
    			} else {
    				int32_t rpmCalc = (int32_t)(scalerValThing*(float)(highDelta));
    				if (rpmCalc > maxAmp) {
    					rpmCalc = maxAmp;
    				} else if (rpmCalc < -1* maxAmp) {
    					rpmCalc = -1*maxAmp;
    				}
    				// usart_printf("Smaller: CurrentPos: %d | IncrementVal: %d | ReturnScalerVal: %d\r\n", currentPos, rpmCalc, turnVal);
    				// CAN_setMotorCtrlVal(Bus1, M3508, 5, rpmCalc);
    				setMotorRPM(Bus1, M2006, 5, rpmCalc, YPVoltageRPM);
    			}
    		} else {
    			setMotorRPM(Bus1, M2006, 5, 0, YPVoltageRPM);
    			// usart_printf("Incrementer not one\r\n");
    		}

        }

    	/*
    	setMotorRPM(Bus1, M3508, 1, (getRotorPosition(Bus1, M2006, 5)-1000)*1.5, CMT);
    	*/

    	/*
    	usart_printf("%d, %d\r\n", getMotorRPM(Bus1, M3508, 1), stallCounter);
    	if(getMotorRPM(Bus1, M3508, 1) < -8000) {
    		stallCounter = 10;
    	}

    	if (stallCounter > 0) {
    		stallCounter--;
    	}
    	if (HAL_GPIO_ReadPin(GPIOA, GPIO_PIN_0) == 0 && stallCounter == 0) {
    		CAN_setMotorCtrlVal(Bus1, M3508, 1, -1*1600*5);
    	} else if (HAL_GPIO_ReadPin(GPIOA, GPIO_PIN_0) == 0 && stallCounter > 0) {
    		// setMotorRPM(Bus1, M3508, 1, 0, CMT);
    		CAN_setMotorCtrlVal(Bus1, M3508, 1, 1600);
    	} else {
    		CAN_setMotorCtrlVal(Bus1, M3508, 1, 0);
    	}
    	*/
    	if (HAL_GPIO_ReadPin(GPIOA, GPIO_PIN_0) == 0) {
    		CAN_setMotorCtrlVal(Bus1, M3508, 1, 1600*5);
    	} else {
    		CAN_setMotorCtrlVal(Bus1, M3508, 1, 0);
    	}

    	/*
    	usart_printf("%d %d %d %d\r\n", -1*getMotorRPM(Bus1, M3508, 1), getMotorRPM(Bus1, M3508, 2), getMotorRPM(Bus1, M3508, 3), -1*getMotorRPM(Bus1, M3508, 4));
        uint16_t speed = 30000;
        /*
        int motorRPM;
        for (int i = 1; i <= 4; i++)
        {

        }
        */
    	/*
        PID_preset_t CyawPresetVoltageRPM = {10.0, 0.0, 0.0};
        setMotorRPM(Bus1, M3508, 1, -1*speed, yawPresetVoltageRPM);
        setMotorRPM(Bus1, M3508, 2, speed, yawPresetVoltageRPM);
        setMotorRPM(Bus1, M3508, 3, speed, yawPresetVoltageRPM);
        setMotorRPM(Bus1, M3508, 4, -1*speed, CyawPresetVoltageRPM);
        */
		PWMTimerStarter();
		RCkeysRefresh();
        osDelay(10);
    }

  /* USER CODE END TaskChassis */
}

__weak void imu_temp_control_task(void *argument)
{
  for(;;)
  {
    osDelay(1);
  }
}

void TaskTurret(void *argument)
{
  /* USER CODE BEGIN TaskTurret */
	// JoulesBuffer = 60;
  /* Infinite loop */
	for(;;)
	{
		osDelay(5);
	}
  /* USER CODE END TaskTurret */
}

void Error_Handler(void)
{
  __disable_irq();
  while (1)
  {
  }
}
